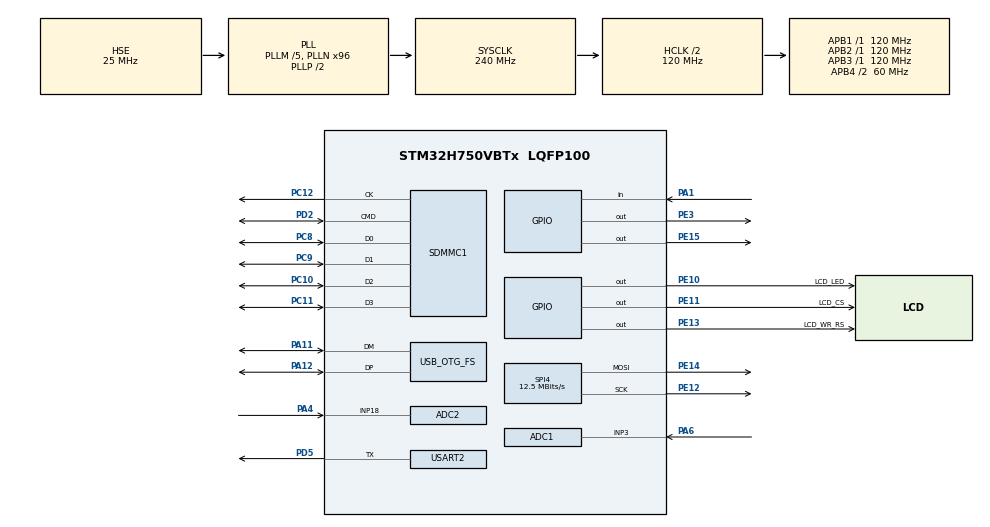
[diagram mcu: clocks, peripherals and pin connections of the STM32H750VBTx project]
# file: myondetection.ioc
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ADC1.Channel-2\#ChannelRegularConversion=ADC_CHANNEL_3
ADC1.ClockPrescaler=ADC_CLOCK_ASYNC_DIV2
ADC1.ContinuousConvMode=DISABLE
ADC1.NbrOfConversionFlag=1
ADC1.OffsetSignedSaturation-2\#ChannelRegularConversion=DISABLE
ADC1.Resolution=ADC_RESOLUTION_12B
ADC1.master=1
ADC2.Channel-2\#ChannelRegularConversion=ADC_CHANNEL_18
ADC2.ClockPrescaler=ADC_CLOCK_ASYNC_DIV2
ADC2.NbrOfConversionFlag=1
ADC2.OffsetNumber-2\#ChannelRegularConversion=ADC_OFFSET_NONE
ADC2.OffsetSignedSaturation-2\#ChannelRegularConversion=DISABLE
ADC2.Rank-2\#ChannelRegularConversion=1
ADC2.Resolution=ADC_RESOLUTION_12B
ADC2.SamplingTime-2\#ChannelRegularConversion=ADC_SAMPLETIME_1CYCLE_5
CORTEX_M7.default_mode_Activation=1
FATFS.BSP.number=1
FATFS._MAX_SS=4096
FATFS._USE_LFN=1
FATFS0.BSP.STBoard=false
FATFS0.BSP.api=Unknown
FATFS0.BSP.instance=PA1
FATFS0.BSP.ip=GPIO
FATFS0.BSP.mode=Input
FATFS0.BSP.name=Detect_SDIO
FATFS0.BSP.solution=PA1
Mcu.Family=STM32H7
Mcu.Name=STM32H750VBTx
Mcu.Package=LQFP100
NVIC.OTG_FS_IRQn=true\:0\:0\:false\:false\:true\:false\:true\:true
NVIC.PriorityGroup=NVIC_PRIORITYGROUP_4
NVIC.TIM2_IRQn=true\:0\:0\:false\:false\:true\:true\:true\:true
PA1.Signal=GPIO_Input
PA11.Mode=Device_Only
PA11.Signal=USB_OTG_FS_DM
PA12.Mode=Device_Only
PA12.Signal=USB_OTG_FS_DP
PA4.Signal=ADCx_INP18
PA6.Signal=ADCx_INP3
PC10.Mode=SD_4_bits_Wide_bus
PC10.Signal=SDMMC1_D2
PC11.Mode=SD_4_bits_Wide_bus
PC11.Signal=SDMMC1_D3
PC12.Mode=SD_4_bits_Wide_bus
PC12.Signal=SDMMC1_CK
PC8.Mode=SD_4_bits_Wide_bus
PC8.Signal=SDMMC1_D0
PC9.Mode=SD_4_bits_Wide_bus
PC9.Signal=SDMMC1_D1
PD2.Mode=SD_4_bits_Wide_bus
PD2.Signal=SDMMC1_CMD
PD5.Mode=Half_duplex(single_wire_mode)
PD5.Signal=USART2_TX
PE10.GPIO_Label=LCD_LED
PE10.PinState=GPIO_PIN_RESET
PE10.Signal=GPIO_Output
PE11.GPIO_Label=LCD_CS
PE11.PinState=GPIO_PIN_SET
PE11.Signal=GPIO_Output
PE12.Mode=TX_Only_Simplex_Unidirect_Master
PE12.Signal=SPI4_SCK
PE13.GPIO_Label=LCD_WR_RS
PE13.Signal=GPIO_Output
PE14.Mode=TX_Only_Simplex_Unidirect_Master
PE14.Signal=SPI4_MOSI
PE15.Signal=GPIO_Output
PE3.PinState=GPIO_PIN_SET
PE3.Signal=GPIO_Output
PH0-OSC_IN\ (PH0).Mode=HSE-External-Oscillator
PH0-OSC_IN\ (PH0).Signal=RCC_OSC_IN
PH1-OSC_OUT\ (PH1).Mode=HSE-External-Oscillator
PH1-OSC_OUT\ (PH1).Signal=RCC_OSC_OUT
ProjectManager.HeapSize=0x200
ProjectManager.StackSize=0x400
ProjectManager.TargetToolchain=STM32CubeIDE
RCC.ADCFreq_Value=75000000
RCC.APB1Freq_Value=120000000
RCC.APB2Freq_Value=120000000
RCC.APB3Freq_Value=120000000
RCC.APB4Freq_Value=60000000
RCC.CortexFreq_Value=240000000
RCC.D3PPRE=RCC_APB4_DIV2
RCC.DIVM1=5
RCC.DIVM2=2
RCC.DIVN1=96
RCC.DIVN2=12
RCC.HCLKFreq_Value=120000000
RCC.HPRE=RCC_HCLK_DIV2
RCC.HSE_VALUE=25000000
RCC.PLLSourceVirtual=RCC_PLLSOURCE_HSE
RCC.SAI1Enable-ClockTree=true
RCC.SDMMC1CLockSelection=RCC_SDMMCCLKSOURCE_PLL2
RCC.SYSCLKFreq_VALUE=240000000
RCC.SYSCLKSource=RCC_SYSCLKSOURCE_PLLCLK
RCC.Spi45ClockSelection=RCC_SPI45CLKSOURCE_HSE
RCC.USART234578CLockSelection=RCC_USART234578CLKSOURCE_PLL2
RCC.USBCLockSelection=RCC_USBCLKSOURCE_HSI48
RCC.USBFreq_Value=48000000
SDMMC1.ClockDiv=8
SH.ADCx_INP18.0=ADC2_INP18,IN18-Single-Ended
SH.ADCx_INP3.0=ADC1_INP3,IN3-Single-Ended
SPI4.BaudRatePrescaler=SPI_BAUDRATEPRESCALER_2
SPI4.CalculateBaudRate=12.5 MBits/s
SPI4.DataSize=SPI_DATASIZE_8BIT
SPI4.Direction=SPI_DIRECTION_2LINES_TXONLY
SPI4.Mode=SPI_MODE_MASTER
SPI4.VirtualType=VM_MASTER
TIM2.Prescaler=119
USART2.BaudRate=9600
USART2.Mode=MODE_TX
USART2.VirtualMode-Half_duplex(single_wire_mode)=VM_ASYNC
USB_DEVICE.CLASS_NAME_FS=CDC
USB_DEVICE.VirtualMode-CDC_FS=Cdc
USB_DEVICE.VirtualModeFS=Cdc_FS
USB_OTG_FS.VirtualMode=Device_Only
VP_FATFS_VS_SDIO.Mode=SDIO
VP_MEMORYMAP_VS_MEMORYMAP.Mode=CurAppReg
VP_TIM2_VS_ClockSourceINT.Mode=Internal
VP_USB_DEVICE_VS_USB_DEVICE_CDC_FS.Mode=CDC_FS
board=custom

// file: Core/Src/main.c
/* USER CODE BEGIN Header */
/**
  ******************************************************************************
  * @file           : main.c
  * @brief          : Main program body
  ******************************************************************************
  * @attention
  *
  * Copyright (c) 2025 STMicroelectronics.
  * All rights reserved.
  *
  * This software is licensed under terms that can be found in the LICENSE file
  * in the root directory of this software component.
  * If no LICENSE file comes with this software, it is provided AS-IS.
  *
  ******************************************************************************
  */
#include "usbd_cdc_if.h"
/* USER CODE END Header */
#include "main.h"
#include "fatfs.h"
#include "usb_device.h"

/* USER CODE BEGIN Includes */
#include <string.h>
#include <st7735.h>
#include "fonts.h"
#include "testimg.h"
#include <math.h>

/* USER CODE END Includes */

ADC_HandleTypeDef hadc1;
ADC_HandleTypeDef hadc2;

SD_HandleTypeDef hsd1;

SPI_HandleTypeDef hspi4;

TIM_HandleTypeDef htim2;

UART_HandleTypeDef huart2;

/* USER CODE BEGIN PV */
long counter = 0;
bool written = false;
volatile long adc_callback_counter = 0;
#define ADCBUFSIZE 1000
uint32_t adcbuf[ADCBUFSIZE];
bool adc_ready = false;

char log_filename[32];
uint32_t file_counter = 0;

/* USER CODE END PV */

void SystemClock_Config(void);
void PeriphCommonClock_Config(void);
static void MPU_Config(void);
static void MX_GPIO_Init(void);
static void MX_SPI4_Init(void);
static void MX_ADC1_Init(void);
static void MX_ADC2_Init(void);
static void MX_TIM2_Init(void);
static void MX_SDMMC1_SD_Init(void);
static void MX_USART2_UART_Init(void);

int main(void)
{

  /* MPU Configuration--------------------------------------------------------*/
  MPU_Config();

  /* MCU Configuration--------------------------------------------------------*/

  /* Reset of all peripherals, Initializes the Flash interface and the Systick. */
  HAL_Init();

  /* Configure the system clock */
  SystemClock_Config();

  /* Configure the peripherals common clocks */
  PeriphCommonClock_Config();

  /* Initialize all configured peripherals */
  MX_GPIO_Init();
  MX_SPI4_Init();
  MX_ADC1_Init();
  MX_ADC2_Init();
  MX_TIM2_Init();
  MX_USB_DEVICE_Init();
  MX_SDMMC1_SD_Init();
  MX_FATFS_Init();
  MX_USART2_UART_Init();
  /* USER CODE BEGIN 2 */

  // init display
  ST7735_Init();

  // clear display
  ST7735_FillScreen(0x0000);

  // adc calibration
  HAL_ADCEx_Calibration_Start(&hadc1, ADC_SINGLE_ENDED, DISABLE);
  HAL_ADCEx_Calibration_Start(&hadc2, ADC_SINGLE_ENDED, DISABLE);

  // start timer
  HAL_TIM_Base_Start_IT(&htim2);
  /* USER CODE END 2 */

  /* Infinite loop */
  /* USER CODE BEGIN WHILE */

  // definitions for upper and lower threshold
  // (detector is triggered if ADC value hits upper threshold)
  // (all values are buffered until ADC value hits lower threshold)
  // (then the mean value of these values is calculated)
  uint16_t upper_thresh = 400;
  uint16_t lower_thresh = 300;

  // define allowed coincidence time difference
  uint16_t coincidence_window = 100;

  bool triggered = false;
  bool triggered2 = false;

  uint32_t sumval = 0;
  uint32_t conv_cnt = 0;
  uint16_t res_val = 0;

  uint32_t sumval2 = 0;
  uint32_t conv_cnt2 = 0;
  uint16_t res_val2 = 0;

  uint32_t c1_evt_cnt = 0;
  uint32_t c2_evt_cnt = 0;
  uint32_t coinc_evt_cnt = 0;

  uint32_t times1[100];
  uint8_t counter1 = 0;
  float rate1 = 0;

  uint32_t times2[100];
  uint8_t counter2 = 0;
  float rate2 = 0;

  uint32_t coinc_times[20];
  uint8_t coinc_count = 0;
  float coinc_rate = 0;

  uint32_t last_count1 = 0;
  uint32_t last_count2 = 0;

  // show status on display
  ST7735_WriteString(0, 10, "No events.", Font_7x10, 0xFFFF, 0x0000);
  ST7735_WriteString(0, 30, "No events.", Font_7x10, 0xFFFF, 0x0000);

  float vref = 3.3f; // reference voltage

  uint32_t microsecs = __HAL_TIM_GET_COUNTER(&htim2);
  uint32_t microsecs2 = __HAL_TIM_GET_COUNTER(&htim2);

  // find lowest numbered unused log file
  findNewFilename();

  // main loop
  while (1)
  {
          // ADC readout
	      char buf[40];
	      HAL_ADC_Start(&hadc1);
	      HAL_ADC_Start(&hadc2);
	      HAL_ADC_PollForConversion(&hadc1, 1);
	      HAL_ADC_PollForConversion(&hadc2, 1);
	      uint16_t val = HAL_ADC_GetValue(&hadc1);
	      uint16_t val2 = HAL_ADC_GetValue(&hadc2);

	      // process data from 1st ADC
	      if (val >= upper_thresh) {
	    	  triggered = true;
	    	  sumval = sumval + val;
	    	  conv_cnt++;
	    	  microsecs = __HAL_TIM_GET_COUNTER(&htim2);
	      } else if ((val < lower_thresh) && (triggered)) {
	    	  res_val = (uint16_t)round(sumval/conv_cnt);

	    	  float voltage = (res_val / 4095.0f) * vref;
	     	  sprintf(buf, "%lu | %.3f V   ", microsecs, voltage);
	          ST7735_WriteString(0, 10, buf, Font_7x10, 0xFFFF, 0x0000);

	          times1[counter1] = microsecs;
	          counter1++;

	          last_count1 = microsecs;
	          if (counter1 == 100) {
	        	  uint32_t timediff = times1[99]-times1[0];
	        	  float timediff_in_min = timediff / 60000000.0f;
	        	  rate1 = 100/timediff_in_min;

	        	  char buf[20];
	        	  sprintf(buf, "%.1f", rate1);
	        	  ST7735_WriteString(0, 70, buf, Font_7x10, 0xFFFF, 0x0000);

	        	  counter1 = 0;
	          }

	          char usbbuf[20];
	          uint8_t buflen = sprintf(usbbuf, "0,%lu,%.3f\n", microsecs, voltage);
	          logToSD(usbbuf, buflen);
	          CDC_Transmit_FS((uint8_t*)usbbuf, buflen);

	          c1_evt_cnt++;

	          if ((c1_evt_cnt % 100) == 0) {
	        	  findNewFilename();
	          }

	    	  sumval = 0;
	    	  conv_cnt = 0;
	     	  triggered = false;

		      sprintf(buf, "%lu", c1_evt_cnt);
		      ST7735_WriteString(0, 50, buf, Font_7x10, 0xFFFF, 0x0000);
	      }

	      // process data from 2nd ADC
	      if (val2 >= upper_thresh) {
	    	  triggered2 = true;
	      	  sumval2 = sumval2 + val2;
	      	  conv_cnt2++;
	    	  microsecs2 = __HAL_TIM_GET_COUNTER(&htim2);
	      } else if ((val2 < lower_thresh) && (triggered2)) {
	    	  res_val2 = (uint16_t)round(sumval2/conv_cnt2);

	    	  float voltage2 = (res_val2 / 4095.0f) * vref;
	     	  sprintf(buf, "%lu | %.3f V   ", microsecs2, voltage2);
	          ST7735_WriteString(0, 30, buf, Font_7x10, 0xFFFF, 0x0000);

	          times2[counter2] = microsecs2;
	          counter2++;

	          last_count2 = microsecs2;

	          if (counter2 == 100) {
	        	  uint32_t timediff = times2[99]-times2[0];
	          	  float timediff_in_min = timediff / 60000000.0f;
	          	  rate2 = 100/timediff_in_min;

	          	  char buf[20];
	          	  sprintf(buf, "%.1f", rate2);
	          	  ST7735_WriteString(60, 70, buf, Font_7x10, 0xFFFF, 0x0000);

	          	  counter2 = 0;
	          }

	          char usbbuf[20];
	          uint8_t buflen = sprintf(usbbuf, "1,%lu,%.3f\n", microsecs2, voltage2);
	          logToSD(usbbuf, buflen);
	          CDC_Transmit_FS((uint8_t*)usbbuf, buflen);

	          c2_evt_cnt++;
	    	  sumval2 = 0;
	    	  conv_cnt2 = 0;
	     	  triggered2 = false;

	     	  sprintf(buf, "%lu", c2_evt_cnt);
		      ST7735_WriteString(60, 50, buf, Font_7x10, 0xFFFF, 0x0000);
	      }

	      if ((last_count1 > 0) && (last_count2 > 0)) {
	    	  if (abs(last_count1-last_count2) < coincidence_window) {
	    		  coinc_evt_cnt++;

	    		  coinc_times[coinc_count] = last_count1;
				  coinc_count++;

	    		  sprintf(buf, "%lu", coinc_evt_cnt);
	    		  ST7735_WriteString(120, 50, buf, Font_7x10, 0xF800, 0x0000);

	    		  last_count1 = 0;
	    		  last_count2 = 0;
	    	  }

	    	  if (coinc_count == 20) {
	    		  uint32_t timediff = coinc_times[19]-coinc_times[0];
	    		  float timediff_in_min = timediff / 60000000.0f;
	    		  coinc_rate = 20/timediff_in_min;

	    		  char buf[20];
	    		  sprintf(buf, "%.1f", coinc_rate);
	    		  ST7735_WriteString(120, 70, buf, Font_7x10, 0xFFFF, 0x0000);

	    		  coinc_count = 0;
	    	  }
	      }
    /* USER CODE END WHILE */

  }
}

void SystemClock_Config(void)
{
  RCC_OscInitTypeDef RCC_OscInitStruct = {0};
  RCC_ClkInitTypeDef RCC_ClkInitStruct = {0};

  /** Supply configuration update enable
  */
  HAL_PWREx_ConfigSupply(PWR_LDO_SUPPLY);

  /** Configure the main internal regulator output voltage
  */
  __HAL_PWR_VOLTAGESCALING_CONFIG(PWR_REGULATOR_VOLTAGE_SCALE2);

  while(!__HAL_PWR_GET_FLAG(PWR_FLAG_VOSRDY)) {}

  /** Initializes the RCC Oscillators according to the specified parameters
  * in the RCC_OscInitTypeDef structure.
  */
  RCC_OscInitStruct.OscillatorType = RCC_OSCILLATORTYPE_HSI48|RCC_OSCILLATORTYPE_HSE;
  RCC_OscInitStruct.HSEState = RCC_HSE_ON;
  RCC_OscInitStruct.HSI48State = RCC_HSI48_ON;
  RCC_OscInitStruct.PLL.PLLState = RCC_PLL_ON;
  RCC_OscInitStruct.PLL.PLLSource = RCC_PLLSOURCE_HSE;
  RCC_OscInitStruct.PLL.PLLM = 5;
  RCC_OscInitStruct.PLL.PLLN = 96;
  RCC_OscInitStruct.PLL.PLLP = 2;
  RCC_OscInitStruct.PLL.PLLQ = 2;
  RCC_OscInitStruct.PLL.PLLR = 2;
  RCC_OscInitStruct.PLL.PLLRGE = RCC_PLL1VCIRANGE_2;
  RCC_OscInitStruct.PLL.PLLVCOSEL = RCC_PLL1VCOWIDE;
  RCC_OscInitStruct.PLL.PLLFRACN = 0;
  if (HAL_RCC_OscConfig(&RCC_OscInitStruct) != HAL_OK)
  {
    Error_Handler();
  }

  /** Initializes the CPU, AHB and APB buses clocks
  */
  RCC_ClkInitStruct.ClockType = RCC_CLOCKTYPE_HCLK|RCC_CLOCKTYPE_SYSCLK
                              |RCC_CLOCKTYPE_PCLK1|RCC_CLOCKTYPE_PCLK2
                              |RCC_CLOCKTYPE_D3PCLK1|RCC_CLOCKTYPE_D1PCLK1;
  RCC_ClkInitStruct.SYSCLKSource = RCC_SYSCLKSOURCE_PLLCLK;
  RCC_ClkInitStruct.SYSCLKDivider = RCC_SYSCLK_DIV1;
  RCC_ClkInitStruct.AHBCLKDivider = RCC_HCLK_DIV2;
  RCC_ClkInitStruct.APB3CLKDivider = RCC_APB3_DIV1;
  RCC_ClkInitStruct.APB1CLKDivider = RCC_APB1_DIV1;
  RCC_ClkInitStruct.APB2CLKDivider = RCC_APB2_DIV1;
  RCC_ClkInitStruct.APB4CLKDivider = RCC_APB4_DIV2;

  if (HAL_RCC_ClockConfig(&RCC_ClkInitStruct, FLASH_LATENCY_2) != HAL_OK)
  {
    Error_Handler();
  }
}

void PeriphCommonClock_Config(void)
{
  RCC_PeriphCLKInitTypeDef PeriphClkInitStruct = {0};

  /** Initializes the peripherals clock
  */
  PeriphClkInitStruct.PeriphClockSelection = RCC_PERIPHCLK_ADC|RCC_PERIPHCLK_SDMMC
                              |RCC_PERIPHCLK_USART2;
  PeriphClkInitStruct.PLL2.PLL2M = 2;
  PeriphClkInitStruct.PLL2.PLL2N = 12;
  PeriphClkInitStruct.PLL2.PLL2P = 2;
  PeriphClkInitStruct.PLL2.PLL2Q = 2;
  PeriphClkInitStruct.PLL2.PLL2R = 2;
  PeriphClkInitStruct.PLL2.PLL2RGE = RCC_PLL2VCIRANGE_3;
  PeriphClkInitStruct.PLL2.PLL2VCOSEL = RCC_PLL2VCOMEDIUM;
  PeriphClkInitStruct.PLL2.PLL2FRACN = 0;
  PeriphClkInitStruct.SdmmcClockSelection = RCC_SDMMCCLKSOURCE_PLL2;
  PeriphClkInitStruct.Usart234578ClockSelection = RCC_USART234578CLKSOURCE_PLL2;
  PeriphClkInitStruct.AdcClockSelection = RCC_ADCCLKSOURCE_PLL2;
  if (HAL_RCCEx_PeriphCLKConfig(&PeriphClkInitStruct) != HAL_OK)
  {
    Error_Handler();
  }
}

static void MX_ADC1_Init(void)
{

  ADC_MultiModeTypeDef multimode = {0};
  ADC_ChannelConfTypeDef sConfig = {0};

  /** Common config
  */
  hadc1.Instance = ADC1;
  hadc1.Init.ClockPrescaler = ADC_CLOCK_ASYNC_DIV2;
  hadc1.Init.Resolution = ADC_RESOLUTION_12B;
  hadc1.Init.ScanConvMode = ADC_SCAN_DISABLE;
  hadc1.Init.EOCSelection = ADC_EOC_SINGLE_CONV;
  hadc1.Init.LowPowerAutoWait = DISABLE;
  hadc1.Init.ContinuousConvMode = DISABLE;
  hadc1.Init.NbrOfConversion = 1;
  hadc1.Init.DiscontinuousConvMode = DISABLE;
  hadc1.Init.ExternalTrigConv = ADC_SOFTWARE_START;
  hadc1.Init.ExternalTrigConvEdge = ADC_EXTERNALTRIGCONVEDGE_NONE;
  hadc1.Init.ConversionDataManagement = ADC_CONVERSIONDATA_DR;
  hadc1.Init.Overrun = ADC_OVR_DATA_PRESERVED;
  hadc1.Init.LeftBitShift = ADC_LEFTBITSHIFT_NONE;
  hadc1.Init.OversamplingMode = DISABLE;
  hadc1.Init.Oversampling.Ratio = 1;
  if (HAL_ADC_Init(&hadc1) != HAL_OK)
  {
    Error_Handler();
  }

  /** Configure the ADC multi-mode
  */
  multimode.Mode = ADC_MODE_INDEPENDENT;
  if (HAL_ADCEx_MultiModeConfigChannel(&hadc1, &multimode) != HAL_OK)
  {
    Error_Handler();
  }

  /** Configure Regular Channel
  */
  sConfig.Channel = ADC_CHANNEL_3;
  sConfig.Rank = ADC_REGULAR_RANK_1;
  sConfig.SamplingTime = ADC_SAMPLETIME_1CYCLE_5;
  sConfig.SingleDiff = ADC_SINGLE_ENDED;
  sConfig.OffsetNumber = ADC_OFFSET_NONE;
  sConfig.Offset = 0;
  sConfig.OffsetSignedSaturation = DISABLE;
  if (HAL_ADC_ConfigChannel(&hadc1, &sConfig) != HAL_OK)
  {
    Error_Handler();
  }

}

static void MX_ADC2_Init(void)
{

  ADC_ChannelConfTypeDef sConfig = {0};

  /** Common config
  */
  hadc2.Instance = ADC2;
  hadc2.Init.ClockPrescaler = ADC_CLOCK_ASYNC_DIV2;
  hadc2.Init.Resolution = ADC_RESOLUTION_12B;
  hadc2.Init.ScanConvMode = ADC_SCAN_DISABLE;
  hadc2.Init.EOCSelection = ADC_EOC_SINGLE_CONV;
  hadc2.Init.LowPowerAutoWait = DISABLE;
  hadc2.Init.ContinuousConvMode = DISABLE;
  hadc2.Init.NbrOfConversion = 1;
  hadc2.Init.DiscontinuousConvMode = DISABLE;
  hadc2.Init.ExternalTrigConv = ADC_SOFTWARE_START;
  hadc2.Init.ExternalTrigConvEdge = ADC_EXTERNALTRIGCONVEDGE_NONE;
  hadc2.Init.ConversionDataManagement = ADC_CONVERSIONDATA_DR;
  hadc2.Init.Overrun = ADC_OVR_DATA_PRESERVED;
  hadc2.Init.LeftBitShift = ADC_LEFTBITSHIFT_NONE;
  hadc2.Init.OversamplingMode = DISABLE;
  hadc2.Init.Oversampling.Ratio = 1;
  if (HAL_ADC_Init(&hadc2) != HAL_OK)
  {
    Error_Handler();
  }

  /** Configure Regular Channel
  */
  sConfig.Channel = ADC_CHANNEL_18;
  sConfig.Rank = ADC_REGULAR_RANK_1;
  sConfig.SamplingTime = ADC_SAMPLETIME_1CYCLE_5;
  sConfig.SingleDiff = ADC_SINGLE_ENDED;
  sConfig.OffsetNumber = ADC_OFFSET_NONE;
  sConfig.Offset = 0;
  sConfig.OffsetSignedSaturation = DISABLE;
  if (HAL_ADC_ConfigChannel(&hadc2, &sConfig) != HAL_OK)
  {
    Error_Handler();
  }

}

static void MX_SDMMC1_SD_Init(void)
{

  hsd1.Instance = SDMMC1;
  hsd1.Init.ClockEdge = SDMMC_CLOCK_EDGE_RISING;
  hsd1.Init.ClockPowerSave = SDMMC_CLOCK_POWER_SAVE_DISABLE;
  hsd1.Init.BusWide = SDMMC_BUS_WIDE_4B;
  hsd1.Init.HardwareFlowControl = SDMMC_HARDWARE_FLOW_CONTROL_DISABLE;
  hsd1.Init.ClockDiv = 8;
  if (HAL_SD_Init(&hsd1) != HAL_OK)
  {
    Error_Handler();
  }

}

static void MX_SPI4_Init(void)
{

  /* SPI4 parameter configuration*/
  hspi4.Instance = SPI4;
  hspi4.Init.Mode = SPI_MODE_MASTER;
  hspi4.Init.Direction = SPI_DIRECTION_2LINES_TXONLY;
  hspi4.Init.DataSize = SPI_DATASIZE_8BIT;
  hspi4.Init.CLKPolarity = SPI_POLARITY_LOW;
  hspi4.Init.CLKPhase = SPI_PHASE_1EDGE;
  hspi4.Init.NSS = SPI_NSS_SOFT;
  hspi4.Init.BaudRatePrescaler = SPI_BAUDRATEPRESCALER_2;
  hspi4.Init.FirstBit = SPI_FIRSTBIT_MSB;
  hspi4.Init.TIMode = SPI_TIMODE_DISABLE;
  hspi4.Init.CRCCalculation = SPI_CRCCALCULATION_DISABLE;
  hspi4.Init.CRCPolynomial = 0x0;
  hspi4.Init.NSSPMode = SPI_NSS_PULSE_ENABLE;
  hspi4.Init.NSSPolarity = SPI_NSS_POLARITY_LOW;
  hspi4.Init.FifoThreshold = SPI_FIFO_THRESHOLD_01DATA;
  hspi4.Init.TxCRCInitializationPattern = SPI_CRC_INITIALIZATION_ALL_ZERO_PATTERN;
  hspi4.Init.RxCRCInitializationPattern = SPI_CRC_INITIALIZATION_ALL_ZERO_PATTERN;
  hspi4.Init.MasterSSIdleness = SPI_MASTER_SS_IDLENESS_00CYCLE;
  hspi4.Init.MasterInterDataIdleness = SPI_MASTER_INTERDATA_IDLENESS_00CYCLE;
  hspi4.Init.MasterReceiverAutoSusp = SPI_MASTER_RX_AUTOSUSP_DISABLE;
  hspi4.Init.MasterKeepIOState = SPI_MASTER_KEEP_IO_STATE_DISABLE;
  hspi4.Init.IOSwap = SPI_IO_SWAP_DISABLE;
  if (HAL_SPI_Init(&hspi4) != HAL_OK)
  {
    Error_Handler();
  }

}

static void MX_TIM2_Init(void)
{

  TIM_ClockConfigTypeDef sClockSourceConfig = {0};
  TIM_MasterConfigTypeDef sMasterConfig = {0};

  htim2.Instance = TIM2;
  htim2.Init.Prescaler = 119;
  htim2.Init.CounterMode = TIM_COUNTERMODE_UP;
  htim2.Init.Period = 4294967295;
  htim2.Init.ClockDivision = TIM_CLOCKDIVISION_DIV1;
  htim2.Init.AutoReloadPreload = TIM_AUTORELOAD_PRELOAD_DISABLE;
  if (HAL_TIM_Base_Init(&htim2) != HAL_OK)
  {
    Error_Handler();
  }
  sClockSourceConfig.ClockSource = TIM_CLOCKSOURCE_INTERNAL;
  if (HAL_TIM_ConfigClockSource(&htim2, &sClockSourceConfig) != HAL_OK)
  {
    Error_Handler();
  }
  sMasterConfig.MasterOutputTrigger = TIM_TRGO_RESET;
  sMasterConfig.MasterSlaveMode = TIM_MASTERSLAVEMODE_DISABLE;
  if (HAL_TIMEx_MasterConfigSynchronization(&htim2, &sMasterConfig) != HAL_OK)
  {
    Error_Handler();
  }

}

static void MX_USART2_UART_Init(void)
{

  huart2.Instance = USART2;
  huart2.Init.BaudRate = 9600;
  huart2.Init.WordLength = UART_WORDLENGTH_8B;
  huart2.Init.StopBits = UART_STOPBITS_1;
  huart2.Init.Parity = UART_PARITY_NONE;
  huart2.Init.Mode = UART_MODE_TX;
  huart2.Init.HwFlowCtl = UART_HWCONTROL_NONE;
  huart2.Init.OverSampling = UART_OVERSAMPLING_16;
  huart2.Init.OneBitSampling = UART_ONE_BIT_SAMPLE_DISABLE;
  huart2.Init.ClockPrescaler = UART_PRESCALER_DIV1;
  huart2.AdvancedInit.AdvFeatureInit = UART_ADVFEATURE_NO_INIT;
  if (HAL_HalfDuplex_Init(&huart2) != HAL_OK)
  {
    Error_Handler();
  }
  if (HAL_UARTEx_SetTxFifoThreshold(&huart2, UART_TXFIFO_THRESHOLD_1_8) != HAL_OK)
  {
    Error_Handler();
  }
  if (HAL_UARTEx_SetRxFifoThreshold(&huart2, UART_RXFIFO_THRESHOLD_1_8) != HAL_OK)
  {
    Error_Handler();
  }
  if (HAL_UARTEx_DisableFifoMode(&huart2) != HAL_OK)
  {
    Error_Handler();
  }

}

static void MX_GPIO_Init(void)
{
  GPIO_InitTypeDef GPIO_InitStruct = {0};

  /* GPIO Ports Clock Enable */
  __HAL_RCC_GPIOE_CLK_ENABLE();
  __HAL_RCC_GPIOH_CLK_ENABLE();
  __HAL_RCC_GPIOA_CLK_ENABLE();
  __HAL_RCC_GPIOC_CLK_ENABLE();
  __HAL_RCC_GPIOD_CLK_ENABLE();

  /*Configure GPIO pin Output Level */
  HAL_GPIO_WritePin(GPIOE, GPIO_PIN_3|LCD_CS_Pin, GPIO_PIN_SET);

  /*Configure GPIO pin Output Level */
  HAL_GPIO_WritePin(GPIOE, LCD_LED_Pin|LCD_WR_RS_Pin|GPIO_PIN_15, GPIO_PIN_RESET);

  /*Configure GPIO pins : PE3 LCD_LED_Pin LCD_CS_Pin LCD_WR_RS_Pin
                           PE15 */
  GPIO_InitStruct.Pin = GPIO_PIN_3|LCD_LED_Pin|LCD_CS_Pin|LCD_WR_RS_Pin
                          |GPIO_PIN_15;
  GPIO_InitStruct.Mode = GPIO_MODE_OUTPUT_PP;
  GPIO_InitStruct.Pull = GPIO_NOPULL;
  GPIO_InitStruct.Speed = GPIO_SPEED_FREQ_LOW;
  HAL_GPIO_Init(GPIOE, &GPIO_InitStruct);

  /*Configure GPIO pin : PA1 */
  GPIO_InitStruct.Pin = GPIO_PIN_1;
  GPIO_InitStruct.Mode = GPIO_MODE_INPUT;
  GPIO_InitStruct.Pull = GPIO_NOPULL;
  HAL_GPIO_Init(GPIOA, &GPIO_InitStruct);

}

/* USER CODE BEGIN 4 */
uint32_t micros(void)
{
    return __HAL_TIM_GET_COUNTER(&htim2);
}

void HAL_TIM_PeriodElapsedCallback(TIM_HandleTypeDef *htim)
{
	/*
    if(htim->Instance == TIM2)
    {
        HAL_GPIO_TogglePin(GPIOE, GPIO_PIN_3);
    }
    */
}

void logToSD(char* data, uint8_t datalen) {
    char TxBuffer[250];
    FATFS FatFs;
    FIL Fil;
    FRESULT FR_Status;
    UINT WWC; // Write Word Counter
    uint8_t buflen;

    // SD Karte mounten
    FR_Status = f_mount(&FatFs, SDPath, 1);
    if (FR_Status == FR_OK)
    {
        // Datei zum Anhängen öffnen (erstellt, falls nicht vorhanden)
        FR_Status = f_open(&Fil, log_filename, FA_WRITE | FA_OPEN_ALWAYS);
        if(FR_Status == FR_OK) {
            // Cursor ans Ende der Datei setzen
            f_lseek(&Fil, f_size(&Fil));
            // Daten schreiben
            f_write(&Fil, data, datalen, &WWC);
            // Datei schließen
            f_close(&Fil);
            buflen = sprintf(TxBuffer, "Data written to SD\r\n");
            CDC_Transmit_FS((uint8_t*)TxBuffer, buflen);
        } else {
            buflen = sprintf(TxBuffer, "Error! Opening log.txt failed, Error Code: (%i)\r\n", FR_Status);
            CDC_Transmit_FS((uint8_t*)TxBuffer, buflen);
        }
    } else {
        buflen = sprintf(TxBuffer, "Error! Mounting SD card failed, Error Code: (%i)\r\n", FR_Status);
        CDC_Transmit_FS((uint8_t*)TxBuffer, buflen);
    }
}

int fileExists(char* filename) {
	FATFS FatFs;
	FRESULT FR_Status;

	// mount sd card
	FR_Status = f_mount(&FatFs, SDPath, 1);
	if (FR_Status == FR_OK) {
		FILINFO fno;
		FRESULT res;

		res = f_stat(filename, &fno);
		if (res == FR_OK) {
			return 1;
		} else if (res == FR_NO_FILE) {
			return 0;
		} else {
			return 2;
		}
	}
	return 0;
}

void findNewFilename() {
	sprintf(log_filename, "log_%lu.txt", file_counter);
	while ((fileExists(log_filename) == 1) && (file_counter < 100000)) {
		file_counter++;
		sprintf(log_filename, "log_%lu.txt", file_counter);
	}

	char usbbuf[40];
	uint8_t buflen = sprintf(usbbuf, "%s\n", log_filename);
    CDC_Transmit_FS((uint8_t*)usbbuf, buflen);
}

void SDIO_SDCard_Test(void)
{
  char TxBuffer[250];
  FATFS FatFs;
  FIL Fil;
  FRESULT FR_Status;
  FATFS *FS_Ptr;
  UINT RWC, WWC; // Read/Write Word Counter
  DWORD FreeClusters;
  uint32_t TotalSize, FreeSpace;
  char RW_Buffer[200];
  uint8_t buflen;
  do
  {
    //------------------[ Mount The SD Card ]--------------------
    FR_Status = f_mount(&FatFs, SDPath, 1);
    if (FR_Status != FR_OK)
    {
      buflen = sprintf(TxBuffer, "Error! While Mounting SD Card, Error Code: (%i)\r\n", FR_Status);
      CDC_Transmit_FS((uint8_t*)TxBuffer, buflen);
      break;
    }
    buflen = sprintf(TxBuffer, "SD Card Mounted Successfully! \r\n\n");
    CDC_Transmit_FS((uint8_t*)TxBuffer, buflen);
    //------------------[ Get & Print The SD Card Size & Free Space ]--------------------
    f_getfree("", &FreeClusters, &FS_Ptr);
    TotalSize = (uint32_t)((FS_Ptr->n_fatent - 2) * FS_Ptr->csize * 0.5);
    FreeSpace = (uint32_t)(FreeClusters * FS_Ptr->csize * 0.5);
    buflen = sprintf(TxBuffer, "Total SD Card Size: %lu Bytes\r\n", TotalSize);
    CDC_Transmit_FS((uint8_t*)TxBuffer, buflen);
    buflen = sprintf(TxBuffer, "Free SD Card Space: %lu Bytes\r\n\n", FreeSpace);
    CDC_Transmit_FS((uint8_t*)TxBuffer, buflen);
    //------------------[ Open A Text File For Write & Write Data ]--------------------
    //Open the file
    FR_Status = f_open(&Fil, "MyTextFile.txt", FA_WRITE | FA_READ | FA_CREATE_ALWAYS);
    if(FR_Status != FR_OK)
    {
      buflen = sprintf(TxBuffer, "Error! While Creating/Opening A New Text File, Error Code: (%i)\r\n", FR_Status);
      CDC_Transmit_FS((uint8_t*)TxBuffer, buflen);
      break;
    }
    buflen = sprintf(TxBuffer, "Text File Created & Opened! Writing Data To The Text File..\r\n\n");
    CDC_Transmit_FS((uint8_t*)TxBuffer, buflen);
    // (1) Write Data To The Text File [ Using f_puts() Function ]
    f_puts("Hello! From STM32 To SD Card Over SDMMC, Using f_puts()\n", &Fil);
    // (2) Write Data To The Text File [ Using f_write() Function ]
    strcpy(RW_Buffer, "Hello! From STM32 To SD Card Over SDMMC, Using f_write()\r\n");
    f_write(&Fil, RW_Buffer, strlen(RW_Buffer), &WWC);
    // Close The File
    f_close(&Fil);
    //------------------[ Open A Text File For Read & Read Its Data ]--------------------
    // Open The File
    FR_Status = f_open(&Fil, "MyTextFile.txt", FA_READ);
    if(FR_Status != FR_OK)
    {
      buflen = sprintf(TxBuffer, "Error! While Opening (MyTextFile.txt) File For Read.. \r\n");
      CDC_Transmit_FS((uint8_t*)TxBuffer, buflen);
      break;
    }
    // (1) Read The Text File's Data [ Using f_gets() Function ]
    f_gets(RW_Buffer, sizeof(RW_Buffer), &Fil);
    buflen = sprintf(TxBuffer, "Data Read From (MyTextFile.txt) Using f_gets():%s", RW_Buffer);
    CDC_Transmit_FS((uint8_t*)TxBuffer, buflen);
    // (2) Read The Text File's Data [ Using f_read() Function ]
    f_read(&Fil, RW_Buffer, f_size(&Fil), &RWC);
    buflen = sprintf(TxBuffer, "Data Read From (MyTextFile.txt) Using f_read():%s", RW_Buffer);
    CDC_Transmit_FS((uint8_t*)TxBuffer, buflen);
    // Close The File
    f_close(&Fil);
    buflen = sprintf(TxBuffer, "File Closed! \r\n\n");
    CDC_Transmit_FS((uint8_t*)TxBuffer, buflen);
    //------------------[ Open An Existing Text File, Update Its Content, Read It Back ]--------------------
    // (1) Open The Existing File For Write (Update)
    FR_Status = f_open(&Fil, "MyTextFile.txt", FA_OPEN_EXISTING | FA_WRITE);
    FR_Status = f_lseek(&Fil, f_size(&Fil)); // Move The File Pointer To The EOF (End-Of-File)
    if(FR_Status != FR_OK)
    {
      buflen = sprintf(TxBuffer, "Error! While Opening (MyTextFile.txt) File For Update.. \r\n");
      CDC_Transmit_FS((uint8_t*)TxBuffer, buflen);
      break;
    }
    // (2) Write New Line of Text Data To The File
    FR_Status = f_puts("This New Line Was Added During File Update!\r\n", &Fil);
    f_close(&Fil);
    memset(RW_Buffer,'\0',sizeof(RW_Buffer)); // Clear The Buffer
    // (3) Read The Contents of The Text File After The Update
    FR_Status = f_open(&Fil, "MyTextFile.txt", FA_READ); // Open The File For Read
    f_read(&Fil, RW_Buffer, f_size(&Fil), &RWC);
    buflen = sprintf(TxBuffer, "Data Read From (MyTextFile.txt) After Update:\r\n%s", RW_Buffer);
    CDC_Transmit_FS((uint8_t*)TxBuffer, buflen);
    f_close(&Fil);
    //------------------[ Delete The Text File ]--------------------
    // Delete The File
    /*
    FR_Status = f_unlink(MyTextFile.txt);
    if (FR_Status != FR_OK){
        sprintf(TxBuffer, "Error! While Deleting The (MyTextFile.txt) File.. \r\n");
        USC_CDC_Print(TxBuffer);
    }
    */
  } while(0);
  //------------------[ Test Complete! Unmount The SD Card ]--------------------
  FR_Status = f_mount(NULL, "", 0);
  if (FR_Status != FR_OK)
  {
	  buflen = sprintf(TxBuffer, "\r\nError! While Un-mounting SD Card, Error Code: (%i)\r\n", FR_Status);
      CDC_Transmit_FS((uint8_t*)TxBuffer, buflen);
  } else{
	  buflen = sprintf(TxBuffer, "\r\nSD Card Un-mounted Successfully! \r\n");
      CDC_Transmit_FS((uint8_t*)TxBuffer, buflen);
  }
}
/* USER CODE END 4 */

 /* MPU Configuration */

void MPU_Config(void)
{
  MPU_Region_InitTypeDef MPU_InitStruct = {0};

  /* Disables the MPU */
  HAL_MPU_Disable();

  /** Initializes and configures the Region and the memory to be protected
  */
  MPU_InitStruct.Enable = MPU_REGION_ENABLE;
  MPU_InitStruct.Number = MPU_REGION_NUMBER0;
  MPU_InitStruct.BaseAddress = 0x0;
  MPU_InitStruct.Size = MPU_REGION_SIZE_4GB;
  MPU_InitStruct.SubRegionDisable = 0x87;
  MPU_InitStruct.TypeExtField = MPU_TEX_LEVEL0;
  MPU_InitStruct.AccessPermission = MPU_REGION_NO_ACCESS;
  MPU_InitStruct.DisableExec = MPU_INSTRUCTION_ACCESS_DISABLE;
  MPU_InitStruct.IsShareable = MPU_ACCESS_SHAREABLE;
  MPU_InitStruct.IsCacheable = MPU_ACCESS_NOT_CACHEABLE;
  MPU_InitStruct.IsBufferable = MPU_ACCESS_NOT_BUFFERABLE;

  HAL_MPU_ConfigRegion(&MPU_InitStruct);
  /* Enables the MPU */
  HAL_MPU_Enable(MPU_PRIVILEGED_DEFAULT);

}

void Error_Handler(void)
{
  __disable_irq();
  while (1)
  {
  }
}
